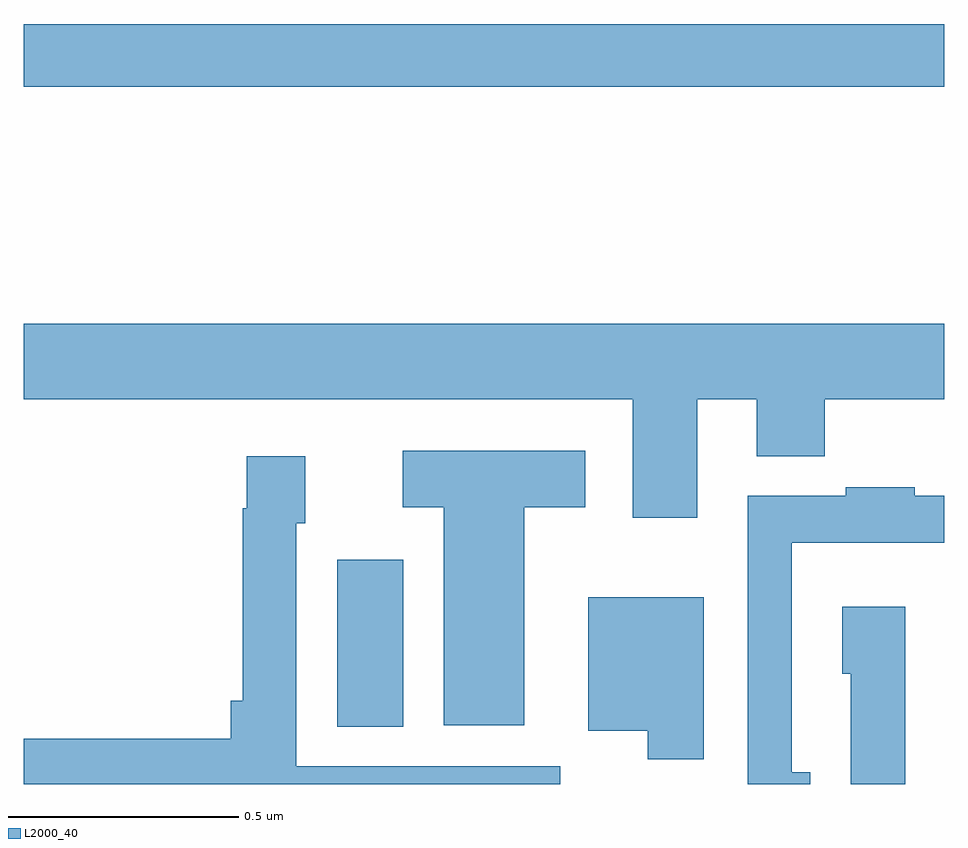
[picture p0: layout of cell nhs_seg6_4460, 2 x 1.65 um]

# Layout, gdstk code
import gdstk
lib = gdstk.Library(unit=1e-6, precision=1e-09)
def R(c, l, rs):  # rectangles x0, y0, x1, y1
    for r in rs: c.add(gdstk.rectangle(r[:2], r[2:], *l))
def P(c, l, *ps):  # polygons
    for p in ps: c.add(gdstk.Polygon(p, *l))
L2000_40 = (2000, 40)

nhs_seg6_4460 = lib.new_cell('nhs_seg6_4460')
R(nhs_seg6_4460, L2000_40, [(170.681,946.624,170.824,946.987), (170,948.016,172,948.152)])
P(nhs_seg6_4460, L2000_40, [(171.463,947.336),(171.593,947.336),(171.593,947.212),(171.741,947.212),(171.741,947.336),(172,947.336),(172,947.5),(170,947.5),(170,947.336),(171.323,947.336),(171.323,947.079),(171.463,947.079)],
  [(171.088,947.102),(171.22,947.102),(171.22,947.224),(170.823,947.224),(170.823,947.102),(170.912,947.102),(170.912,946.628),(171.088,946.628)],
  [(171.166,946.539),(170.592,946.539),(170.592,947.067),(170.611,947.067),(170.611,947.212),(170.484,947.212),(170.484,947.099),(170.476,947.099),(170.476,946.681),(170.45,946.681),(170.45,946.598),(170,946.598),(170,946.5),(171.166,946.5)],
  [(171.709,946.526),(171.669,946.526),(171.669,947.024),(172,947.024),(172,947.127),(171.936,947.127),(171.936,947.145),(171.786,947.145),(171.786,947.127),(171.573,947.127),(171.573,946.5),(171.709,946.5)],
  [(171.478,946.906),(171.227,946.906),(171.227,946.616),(171.356,946.616),(171.356,946.554),(171.478,946.554)],
  [(171.916,946.885),(171.779,946.885),(171.779,946.74),(171.797,946.74),(171.797,946.5),(171.916,946.5)])

lib.write_gds('nhs_seg6_4460.gds')
